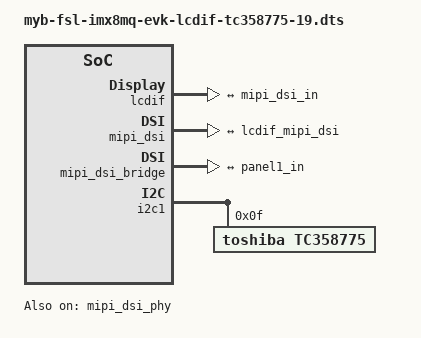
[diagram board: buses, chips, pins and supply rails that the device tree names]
/*
 * Copyright 2017 NXP
 *
 * This program is free software; you can redistribute it and/or
 * modify it under the terms of the GNU General Public License
 * as published by the Free Software Foundation; either version 2
 * of the License, or (at your option) any later version.
 *
 * This program is distributed in the hope that it will be useful,
 * but WITHOUT ANY WARRANTY; without even the implied warranty of
 * MERCHANTABILITY or FITNESS FOR A PARTICULAR PURPOSE.  See the
 * GNU General Public License for more details.
 */

#include "myb-fsl-imx8mq-evk.dts"
#include "panel-M190ETN01-lcdif.dtsi"


/ {
	display-subsystem {
		status = "disabled";
	};
	sound-hdmi {
		status = "disabled";
	};
};

&irqsteer_dcss {
	status = "disabled";
};

&dcss {
	status = "disabled";
};

&hdmi {
	status = "disabled";
};



&lcdif {
	status = "okay";

	
	port@0 {
		lcdif_mipi_dsi: mipi-dsi-endpoint {
			remote-endpoint = <&mipi_dsi_in>;
		};
	};
};

&mipi_dsi_phy {
	status = "okay";
};

&mipi_dsi {
	status = "okay";
	as_bridge;
	sync-pol = <1>;

  pwr-delay = <20>;
	port@1 {
		mipi_dsi_in: endpoint {
			remote-endpoint = <&lcdif_mipi_dsi>;
		};
	};
};

&mipi_dsi_bridge {
	status = "okay";
	clock-drop-level = <2>;


	port@1 {
		mipi_dsi_bridge_out: endpoint {
			remote-endpoint = <&panel1_in>;
		};
	};
};

&iomuxc {
	imx8mq-evk {
		pinctrl_mipi_dsi_en: mipi_dsi_en {
			fsl,pins = <
				MX8MQ_IOMUXC_SAI5_RXD3_GPIO3_IO24 0x16
				MX8MQ_IOMUXC_SAI3_RXC_GPIO4_IO29	0x16
				
			>;
		};

	};
};

&i2c1 {
	tc358775:tc358775@0x0f{
		compatible = "toshiba,tc358775";
		reg  = <0x0f>;
		status = "okay";
	};
};


